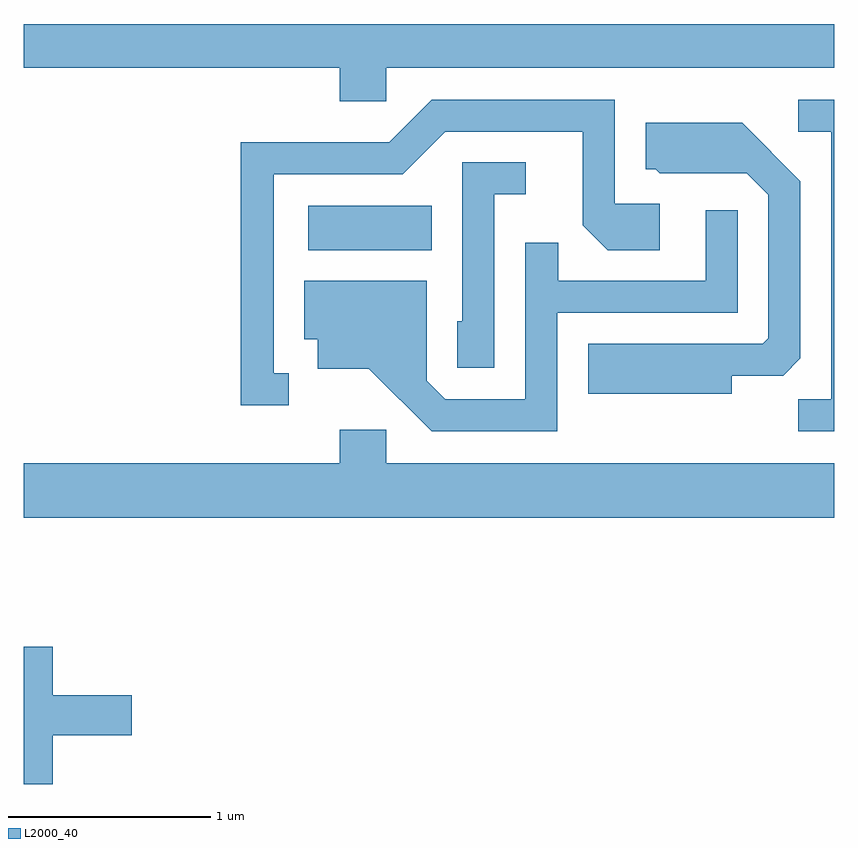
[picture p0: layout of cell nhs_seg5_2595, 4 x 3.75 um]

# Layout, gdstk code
import gdstk
lib = gdstk.Library(unit=1e-6, precision=1e-09)
def R(c, l, rs):  # rectangles x0, y0, x1, y1
    for r in rs: c.add(gdstk.rectangle(r[:2], r[2:], *l))
def P(c, l, *ps):  # polygons
    for p in ps: c.add(gdstk.Polygon(p, *l))
L2000_40 = (2000, 40)

nhs_seg5_2595 = lib.new_cell('nhs_seg5_2595')
R(nhs_seg5_2595, L2000_40, [(263.016,1506.956,263.624,1507.174)])
P(nhs_seg5_2595, L2000_40, [(263.399,1507.856),(265.611,1507.856),(265.611,1508.072),(261.611,1508.072),(261.611,1507.856),(263.171,1507.856),(263.171,1507.691),(263.399,1507.691)],
  [(265.611,1507.699),(265.433,1507.699),(265.433,1507.541),(265.596,1507.541),(265.596,1506.219),(265.433,1506.219),(265.433,1506.061),(265.611,1506.061)],
  [(262.918,1506.349),(262.844,1506.349),(262.844,1507.331),(263.482,1507.331),(263.692,1507.541),(264.371,1507.541),(264.371,1507.079),(264.494,1506.956),(264.749,1506.956),(264.749,1507.184),(264.529,1507.184),(264.529,1507.699),(263.624,1507.699),(263.414,1507.489),(262.681,1507.489),(262.681,1506.191),(262.918,1506.191)],
  [(265.104,1506.336),(265.359,1506.336),(265.444,1506.422),(265.444,1507.297),(265.157,1507.584),(264.681,1507.584),(264.681,1507.356),(264.729,1507.356),(264.749,1507.336),(265.179,1507.336),(265.286,1507.229),(265.286,1506.522),(265.259,1506.494),(264.396,1506.494),(264.396,1506.246),(265.104,1506.246)],
  [(263.934,1507.231),(264.088,1507.231),(264.088,1507.389),(263.776,1507.389),(263.776,1506.604),(263.751,1506.604),(263.751,1506.376),(263.934,1506.376)],
  [(264.244,1506.646),(265.134,1506.646),(265.134,1507.153),(264.976,1507.153),(264.976,1506.804),(264.249,1506.804),(264.249,1506.993),(264.086,1506.993),(264.086,1506.219),(263.692,1506.219),(263.599,1506.312),(263.599,1506.804),(262.996,1506.804),(262.996,1506.516),(263.061,1506.516),(263.061,1506.371),(263.314,1506.371),(263.624,1506.061),(264.244,1506.061)],
  [(265.611,1505.904),(263.399,1505.904),(263.399,1506.069),(263.171,1506.069),(263.171,1505.904),(261.611,1505.904),(261.611,1505.636),(265.611,1505.636)],
  [(261.754,1504.561),(262.144,1504.561),(262.144,1504.759),(261.754,1504.759),(261.754,1504.999),(261.611,1504.999),(261.611,1504.321),(261.754,1504.321)])

lib.write_gds('nhs_seg5_2595.gds')
